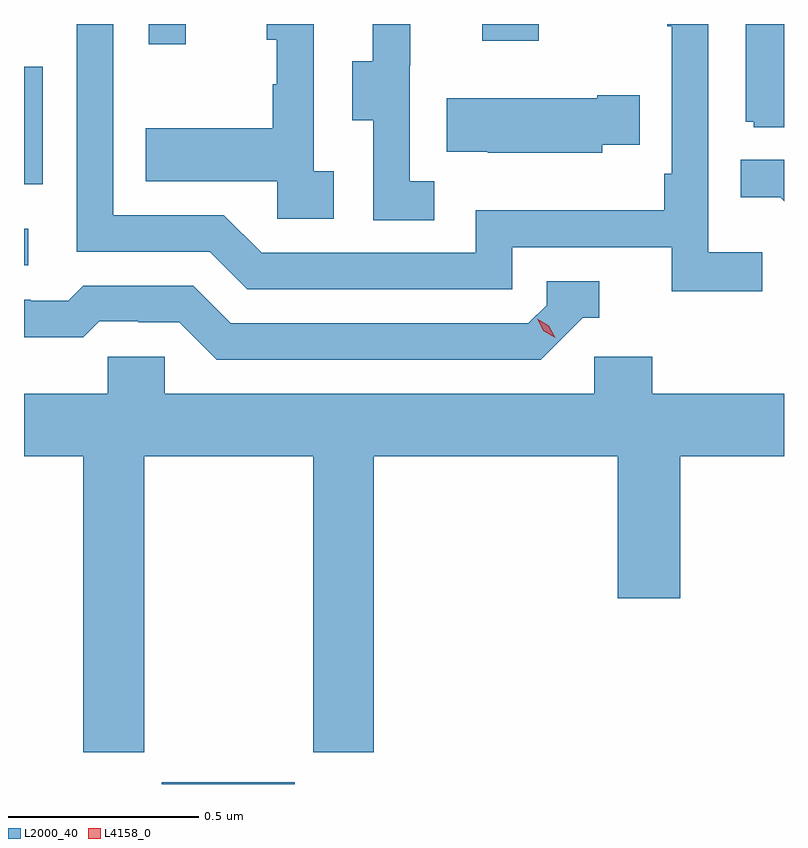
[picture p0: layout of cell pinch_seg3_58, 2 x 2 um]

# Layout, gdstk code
import gdstk
lib = gdstk.Library(unit=1e-6, precision=1e-09)
def R(c, l, rs):  # rectangles x0, y0, x1, y1
    for r in rs: c.add(gdstk.rectangle(r[:2], r[2:], *l))
def P(c, l, *ps):  # polygons
    for p in ps: c.add(gdstk.Polygon(p, *l))
L2000_40 = (2000, 40)
L4158_0 = (4158, 0)

pinch_seg3_58 = lib.new_cell('pinch_seg3_58')
R(pinch_seg3_58, L2000_40, [(1062.908,740.013,1063.258,740.017), (1062.545,741.378,1062.556,741.474), (1062.545,741.591,1062.594,741.9), (1062.873,741.96,1062.971,742.013), (1063.751,741.969,1063.899,742.013)])
P(pinch_seg3_58, L2000_40, [(1063.624,741.599),(1063.56,741.599),(1063.56,741.903),(1063.562,741.903),(1063.562,742.013),(1063.463,742.013),(1063.463,741.915),(1063.409,741.915),(1063.409,741.76),(1063.464,741.76),(1063.464,741.496),(1063.624,741.496)],
  [(1064.545,742.013),(1064.444,742.013),(1064.444,741.756),(1064.466,741.756),(1064.466,741.741),(1064.545,741.741)],
  [(1064.488,741.412),(1064.346,741.412),(1064.346,742.013),(1064.238,742.013),(1064.238,742.007),(1064.25,742.007),(1064.25,741.619),(1064.23,741.619),(1064.23,741.523),(1063.734,741.523),(1063.734,741.411),(1063.17,741.411),(1063.071,741.51),(1062.78,741.51),(1062.78,742.013),(1062.684,742.013),(1062.684,741.414),(1063.034,741.414),(1063.133,741.315),(1063.83,741.315),(1063.83,741.426),(1064.249,741.426),(1064.249,741.31),(1064.488,741.31)],
  [(1063.36,741.626),(1063.308,741.626),(1063.308,742.013),(1063.184,742.013),(1063.184,741.972),(1063.21,741.972),(1063.21,741.854),(1063.2,741.854),(1063.2,741.739),(1062.865,741.739),(1062.865,741.599),(1063.212,741.599),(1063.212,741.501),(1063.36,741.501)],
  [(1064.067,741.695),(1064.165,741.695),(1064.165,741.825),(1064.054,741.825),(1064.054,741.817),(1063.657,741.817),(1063.657,741.677),(1063.765,741.677),(1063.765,741.674),(1064.067,741.674)],
  [(1064.545,741.656),(1064.431,741.656),(1064.431,741.557),(1064.535,741.557),(1064.545,741.547)],
  [(1064.016,741.24),(1064.059,741.24),(1064.059,741.336),(1063.92,741.336),(1063.92,741.273),(1063.872,741.225),(1063.089,741.225),(1062.99,741.324),(1062.701,741.324),(1062.662,741.285),(1062.563,741.285),(1062.563,741.288),(1062.545,741.288),(1062.545,741.189),(1062.701,741.189),(1062.743,741.231),(1062.846,741.231),(1062.846,741.228),(1062.953,741.228),(1063.052,741.129),(1063.905,741.129)],
  [(1062.861,740.876),(1063.306,740.876),(1063.306,740.097),(1063.466,740.097),(1063.466,740.876),(1064.108,740.876),(1064.108,740.502),(1064.272,740.502),(1064.272,740.876),(1064.545,740.876),(1064.545,741.04),(1064.198,741.04),(1064.198,741.138),(1064.046,741.138),(1064.046,741.04),(1062.915,741.04),(1062.915,741.138),(1062.765,741.138),(1062.765,741.04),(1062.545,741.04),(1062.545,740.876),(1062.701,740.876),(1062.701,740.097),(1062.861,740.097)])
P(pinch_seg3_58, L4158_0, [(1063.943,741.187),(1063.912,741.206),(1063.895,741.238),(1063.895,741.238),(1063.896,741.238),(1063.926,741.219),(1063.943,741.187),(1063.943,741.187)])

lib.write_gds('pinch_seg3_58.gds')
